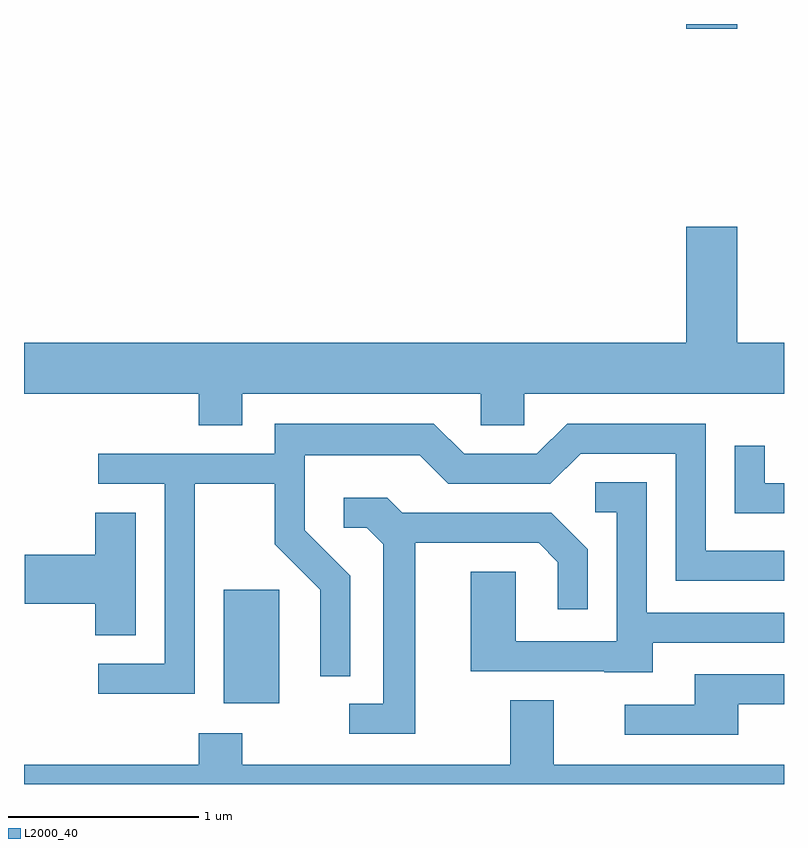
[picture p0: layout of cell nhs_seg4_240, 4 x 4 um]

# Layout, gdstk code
import gdstk
lib = gdstk.Library(unit=1e-6, precision=1e-09)
def R(c, l, rs):  # rectangles x0, y0, x1, y1
    for r in rs: c.add(gdstk.rectangle(r[:2], r[2:], *l))
def P(c, l, *ps):  # polygons
    for p in ps: c.add(gdstk.Polygon(p, *l))
L2000_40 = (2000, 40)

nhs_seg4_240 = lib.new_cell('nhs_seg4_240')
R(nhs_seg4_240, L2000_40, [(192.661,1326.406,192.954,1327.004), (195.096,1329.956,195.364,1329.982)])
P(nhs_seg4_240, L2000_40, [(192.759,1328.036),(194.016,1328.036),(194.016,1327.871),(194.244,1327.871),(194.244,1328.036),(195.611,1328.036),(195.611,1328.304),(195.364,1328.304),(195.364,1328.914),(195.096,1328.914),(195.096,1328.304),(191.611,1328.304),(191.611,1328.036),(192.531,1328.036),(192.531,1327.871),(192.759,1327.871)],
  [(192.509,1327.561),(192.931,1327.561),(192.931,1327.244),(193.171,1327.004),(193.171,1326.548),(193.329,1326.548),(193.329,1327.077),(193.089,1327.317),(193.089,1327.711),(193.694,1327.711),(193.844,1327.561),(194.382,1327.561),(194.542,1327.721),(195.041,1327.721),(195.041,1327.051),(195.611,1327.051),(195.611,1327.209),(195.199,1327.209),(195.199,1327.879),(194.469,1327.879),(194.309,1327.719),(193.927,1327.719),(193.767,1327.879),(192.931,1327.879),(192.931,1327.719),(192.003,1327.719),(192.003,1327.561),(192.351,1327.561),(192.351,1326.614),(192.003,1326.614),(192.003,1326.456),(192.509,1326.456)],
  [(195.611,1327.564),(195.509,1327.564),(195.509,1327.763),(195.351,1327.763),(195.351,1327.406),(195.611,1327.406)],
  [(194.919,1326.726),(195.611,1326.726),(195.611,1326.884),(194.889,1326.884),(194.889,1327.569),(194.618,1327.569),(194.618,1327.411),(194.731,1327.411),(194.731,1326.734),(194.199,1326.734),(194.199,1327.099),(193.961,1327.099),(193.961,1326.576),(194.665,1326.576),(194.665,1326.571),(194.919,1326.571)],
  [(193.669,1327.251),(194.319,1327.251),(194.421,1327.149),(194.421,1326.903),(194.579,1326.903),(194.579,1327.217),(194.387,1327.409),(193.602,1327.409),(193.522,1327.489),(193.293,1327.489),(193.293,1327.331),(193.414,1327.331),(193.501,1327.244),(193.501,1326.404),(193.323,1326.404),(193.323,1326.246),(193.669,1326.246)],
  [(192.199,1327.409),(191.986,1327.409),(191.986,1327.189),(191.616,1327.189),(191.616,1326.931),(191.986,1326.931),(191.986,1326.766),(192.199,1326.766)],
  [(195.369,1326.401),(195.611,1326.401),(195.611,1326.559),(195.141,1326.559),(195.141,1326.399),(194.773,1326.399),(194.773,1326.241),(195.369,1326.241)],
  [(195.611,1326.084),(194.399,1326.084),(194.399,1326.424),(194.171,1326.424),(194.171,1326.084),(192.759,1326.084),(192.759,1326.249),(192.531,1326.249),(192.531,1326.084),(191.611,1326.084),(191.611,1325.982),(195.611,1325.982)])

lib.write_gds('nhs_seg4_240.gds')
